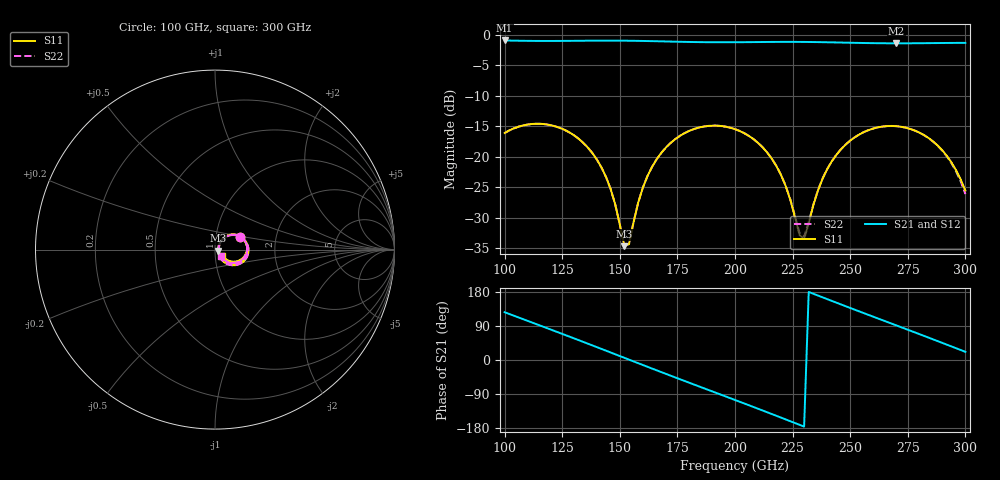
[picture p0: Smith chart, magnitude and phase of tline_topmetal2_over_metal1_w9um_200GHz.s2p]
#  GHZ S DB R 50
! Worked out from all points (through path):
!   101 points, 100 GHz to 300 GHz, reference 50 ohm
!   highest |S21| = -0.89 dB at 100 GHz (marker M1); lowest = -1.4 dB at 270 GHz (marker M2)
!   group delay of S21, straight-line fit = 6.46 ps
!   lowest |S11| = -34.7 dB at 152 GHz (marker M3), VSWR 1.04, Z = 51.8 - j0.669 ohm
!   |S11| at or under -10 dB: start of sweep to end of sweep
!   |S22| runs from -34.6 to -14.6 dB; largest |S21 - S12| = 1.5e-13
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100  -16.08 27.0  -0.89 126.1  -0.89 126.1  -16.10 27.2
118  -14.66 -9.8  -0.98 85.0  -0.98 85.0  -14.67 -9.8
134  -17.64 -41.8  -0.94 48.1  -0.94 48.1  -17.66 -41.8
144  -23.29 -56.8  -0.92 24.6  -0.92 24.6  -23.30 -56.8
152  -34.66 -20.5  -0.93 5.7  -0.93 5.7  -34.62 -20.1
154  -34.33 22.6  -0.94 1.0  -0.94 1.0  -34.24 22.5
160  -25.07 55.1  -0.98 -13.2  -0.98 -13.2  -25.04 54.7
168  -19.36 46.3  -1.04 -31.9  -1.04 -31.9  -19.35 45.9
184  -15.23 15.7  -1.16 -68.9  -1.16 -68.9  -15.22 15.2
200  -15.46 -16.6  -1.19 -105.5  -1.19 -105.5  -15.45 -17.0
218  -21.54 -48.1  -1.13 -147.4  -1.13 -147.4  -21.51 -48.3
224  -27.04 -48.0  -1.13 -161.5  -1.13 -161.5  -26.95 -47.7
228  -32.82 -20.2  -1.13 -171.0  -1.13 -171.0  -32.47 -20.1
230  -33.50 14.6  -1.14 -175.7  -1.14 -175.7  -33.10 13.0
234  -27.95 51.5  -1.16 174.8  -1.16 174.8  -27.83 49.2
240  -22.04 54.2  -1.19 160.7  -1.19 160.7  -22.00 52.3
248  -18.00 42.6  -1.25 142.0  -1.25 142.0  -17.98 40.9
258  -15.61 23.9  -1.33 118.9  -1.33 118.9  -15.60 22.0
268  -14.93 4.2  -1.36 95.9  -1.36 95.9  -14.92 2.0
270  -14.97 0.3  -1.36 91.4  -1.36 91.4  -14.96 -2.0
288  -18.15 -32.8  -1.32 49.8  -1.32 49.8  -18.19 -36.9
300  -25.55 -39.0  -1.29 21.5  -1.29 21.5  -26.10 -48.3
